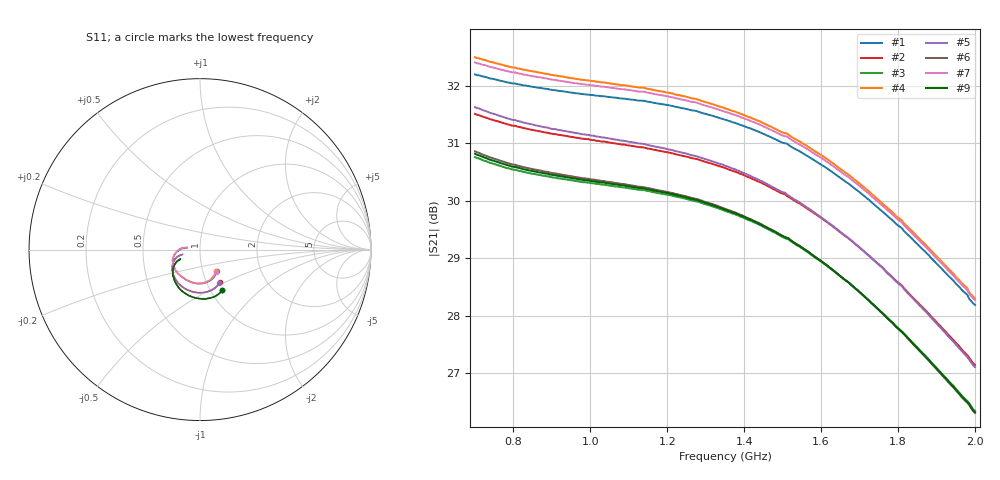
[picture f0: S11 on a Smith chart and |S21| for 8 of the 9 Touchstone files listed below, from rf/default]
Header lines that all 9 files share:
!Mini-Circuits Laboratory
!S-Parameters
!Model: PMA-545G2+
!Run / Lot / Date Code: N/A / N/A / NA
!Fixture: NA; TEST BOARD: TB-607+
!AUTO PORT EXTENSION DONE: PORT<1>=120.99ps; PORT<2>=143.047ps
!Network Analyzer: PNA-X N5242A - 423 4 ports;  Serial number: 71256
!Date: 1/11/2011
!S/N: Unit# 3
# Hz  S  dB  R  50
!Frequency  S11 dB  S11 Deg  S21 dB  S21 Deg  S12 dB  S12 Deg  S22 dB  S22 Deg
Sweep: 700 MHz to 2 GHz
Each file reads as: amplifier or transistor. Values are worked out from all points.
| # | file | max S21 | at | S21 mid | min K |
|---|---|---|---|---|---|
| 1 | PMA-545G2+_Unit3_4.75V_Minus45.s2p | 32.2 dB | 700 MHz | 31.4 dB at 1.35 GHz | 5.90 |
| 2 | PMA-545G2+_Unit3_4.75V_Plus25.s2p | 31.5 dB | 700 MHz | 30.6 dB at 1.35 GHz | 6.63 |
| 3 | PMA-545G2+_Unit3_4.75V_Plus85.s2p | 30.8 dB | 700 MHz | 29.8 dB at 1.35 GHz | 7.03 |
| 4 | PMA-545G2+_Unit3_5.25V_Minus45.s2p | 32.5 dB | 700 MHz | 31.6 dB at 1.35 GHz | 6.01 |
| 5 | PMA-545G2+_Unit3_5.25V_Plus25.s2p | 31.6 dB | 700 MHz | 30.6 dB at 1.35 GHz | 6.74 |
| 6 | PMA-545G2+_Unit3_5.25V_Plus85.s2p | 30.9 dB | 700 MHz | 29.9 dB at 1.35 GHz | 7.37 |
| 7 | PMA-545G2+_Unit3_5V_Minus45.s2p | 32.4 dB | 700 MHz | 31.5 dB at 1.35 GHz | 5.72 |
| 8 | PMA-545G2+_Unit3_5V_Plus25.s2p | 31.6 dB | 700 MHz | 30.6 dB at 1.35 GHz | 6.49 |
| 9 | PMA-545G2+_Unit3_5V_Plus85.s2p | 30.8 dB | 700 MHz | 29.8 dB at 1.35 GHz | 7.05 |
